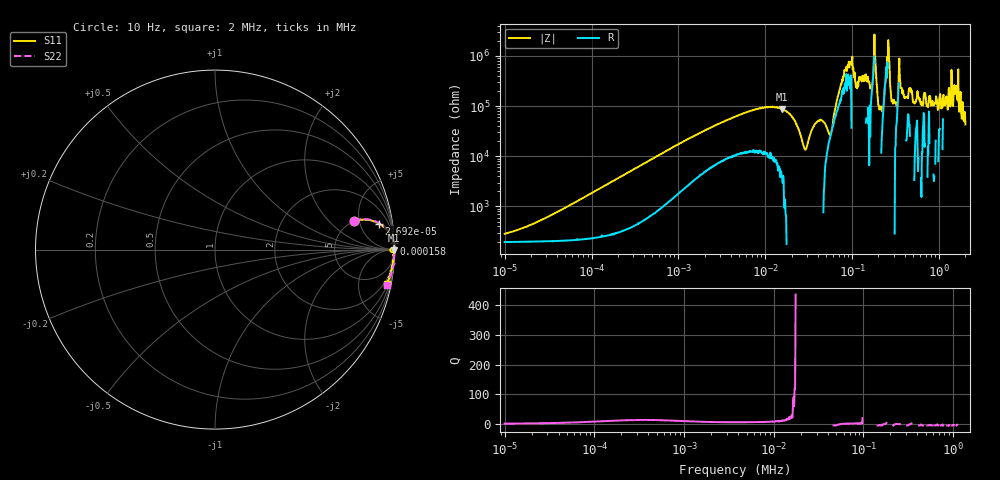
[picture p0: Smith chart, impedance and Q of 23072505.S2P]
!Agilent Technologies,E5061B,MY49204007,A.02.12
!Date: Wed Jul 23 10:57:11 2025
!Data & Calibration Information:
!Freq	S11:SOLT2(ON)	S21:SOLT2(ON)	S12:SOLT2(ON)	S22:SOLT2(ON)
# Hz S dB R 50
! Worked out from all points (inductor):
!   1040 points, 10 Hz to 2 MHz, reference 50 ohm
!   read as one part in series: L = 2.95 H near 32.69 Hz
!   highest Q = 22.5 at 15.51 kHz (marker M1), where L = 888 mH
!   self-resonance near 28.67 kHz
!   S11 on the Smith chart (normalised r, x): 10 Hz: 4.93, +4.15; 26.92 Hz: 5, +10; 158 Hz: 7, +57; 2 MHz: 1, -10
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10  -2.05 11.6  -11.16 -35.1  -11.14 -35.1  -2.04 11.8
26.924  -0.69 9.0  -15.40 -59.2  -15.40 -59.1  -0.67 9.2
77.209  -0.12 3.9  -23.23 -77.2  -23.23 -77.1  -0.10 4.1
158.027  -0.04 2.0  -29.22 -82.6  -29.22 -82.5  -0.02 2.1
588.818  -0.01 0.5  -40.40 -84.7  -40.41 -84.7  0.00 0.7
4498.482  -0.01 0.0  -55.75 -80.1  -55.83 -80.0  0.01 0.2
15512.92  -0.01 -0.2  -58.75 -87.3  -58.89 -87.7  0.01 0.1
28364.82  -0.20 -0.4  -42.96 -166.5  -42.96 -166.3  -0.01 -0.0
34305.13  -0.04 0.2  -50.61 113.5  -50.61 113.6  0.01 -0.0
55893.47  -0.03 -0.2  -48.53 19.1  -48.53 19.1  -0.04 -0.2
79996  -0.01 -0.3  -72.04 -63.9  -72.58 -57.8  0.00 -0.3
94369.25  -0.01 -0.5  -77.64 -73.6  -76.16 -66.4  0.01 -0.5
114012.9  -0.01 -0.6  -67.05 146.8  -67.51 149.8  -0.02 -0.4
182035  -0.01 -1.1  -80.10 -92.9  -77.34 -115.9  -0.00 -0.8
212098.9  -0.01 -1.0  -59.25 90.4  -59.17 94.2  -0.00 -1.0
261946.5  -0.01 -1.4  -82.78 131.9  -80.51 121.5  -0.01 -1.3
306858.3  -0.02 -1.7  -61.37 88.3  -62.38 82.8  -0.01 -1.5
359497.9  -0.05 -1.7  -67.47 107.0  -67.06 112.7  -0.01 -1.8
410311.9  -0.02 -2.1  -63.65 90.0  -62.92 77.9  -0.00 -2.1
857145.1  -0.04 -4.6  -60.66 82.8  -60.45 84.9  -0.01 -5.1
1574823  -0.12 -8.5  -68.25 163.3  -66.88 169.4  -0.12 -9.2
2000000  -0.21 -11.2  -52.94 -132.6  -52.64 -131.9  -0.20 -11.7
